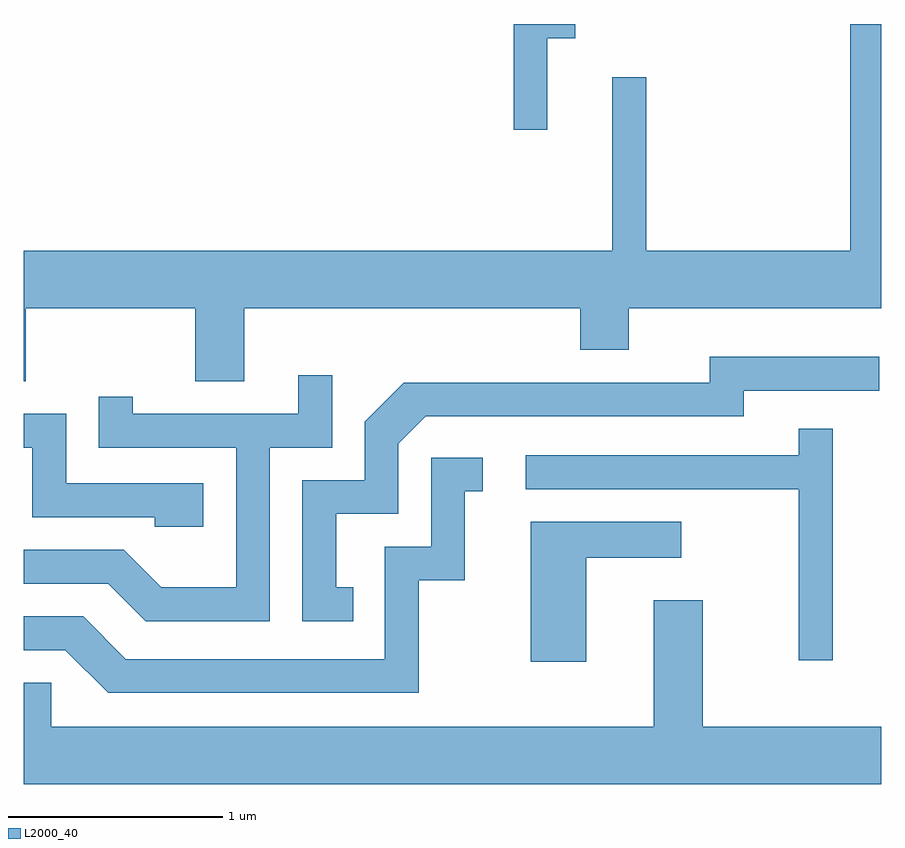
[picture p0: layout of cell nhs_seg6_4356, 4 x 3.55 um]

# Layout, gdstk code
import gdstk
lib = gdstk.Library(unit=1e-6, precision=1e-09)
def P(c, l, *ps):  # polygons
    for p in ps: c.add(gdstk.Polygon(p, *l))
L2000_40 = (2000, 40)

nhs_seg6_4356 = lib.new_cell('nhs_seg6_4356')
P(nhs_seg6_4356, L2000_40, [(317.619,1638.836),(318.411,1638.836),(318.411,1638.496),(318.639,1638.496),(318.639,1638.836),(320.206,1638.836),(320.206,1638.641),(320.434,1638.641),(320.434,1638.836),(321.611,1638.836),(321.611,1640.162),(321.466,1640.162),(321.466,1639.104),(320.514,1639.104),(320.514,1639.913),(320.356,1639.913),(320.356,1639.104),(317.611,1639.104),(317.611,1638.496),(317.619,1638.496)],
  [(320.054,1640.096),(320.184,1640.096),(320.184,1640.162),(319.896,1640.162),(319.896,1639.668),(320.054,1639.668)],
  [(319.148,1637.534),(319.069,1637.534),(319.069,1637.876),(319.359,1637.876),(319.359,1638.204),(319.487,1638.331),(320.969,1638.331),(320.969,1638.451),(321.603,1638.451),(321.603,1638.609),(320.811,1638.609),(320.811,1638.489),(319.384,1638.489),(319.201,1638.307),(319.201,1638.034),(318.911,1638.034),(318.911,1637.376),(319.148,1637.376)],
  [(318.759,1638.186),(319.049,1638.186),(319.049,1638.523),(318.891,1638.523),(318.891,1638.344),(318.119,1638.344),(318.119,1638.423),(317.961,1638.423),(317.961,1638.186),(318.601,1638.186),(318.601,1637.534),(318.252,1637.534),(318.077,1637.709),(317.611,1637.709),(317.611,1637.551),(318.004,1637.551),(318.179,1637.376),(318.759,1637.376)],
  [(318.449,1638.019),(317.809,1638.019),(317.809,1638.344),(317.611,1638.344),(317.611,1638.186),(317.651,1638.186),(317.651,1637.861),(318.221,1637.861),(318.221,1637.816),(318.449,1637.816)],
  [(321.384,1638.273),(321.226,1638.273),(321.226,1638.149),(319.953,1638.149),(319.953,1637.991),(321.226,1637.991),(321.226,1637.193),(321.384,1637.193)],
  [(319.454,1637.566),(319.669,1637.566),(319.669,1637.981),(319.753,1637.981),(319.753,1638.139),(319.511,1638.139),(319.511,1637.724),(319.296,1637.724),(319.296,1637.199),(318.087,1637.199),(317.887,1637.399),(317.611,1637.399),(317.611,1637.241),(317.804,1637.241),(318.004,1637.041),(319.454,1637.041)],
  [(320.234,1637.671),(320.678,1637.671),(320.678,1637.839),(319.976,1637.839),(319.976,1637.186),(320.234,1637.186)],
  [(321.611,1636.884),(320.779,1636.884),(320.779,1637.474),(320.551,1637.474),(320.551,1636.884),(317.739,1636.884),(317.739,1637.089),(317.611,1637.089),(317.611,1636.616),(321.611,1636.616)])

lib.write_gds('nhs_seg6_4356.gds')
